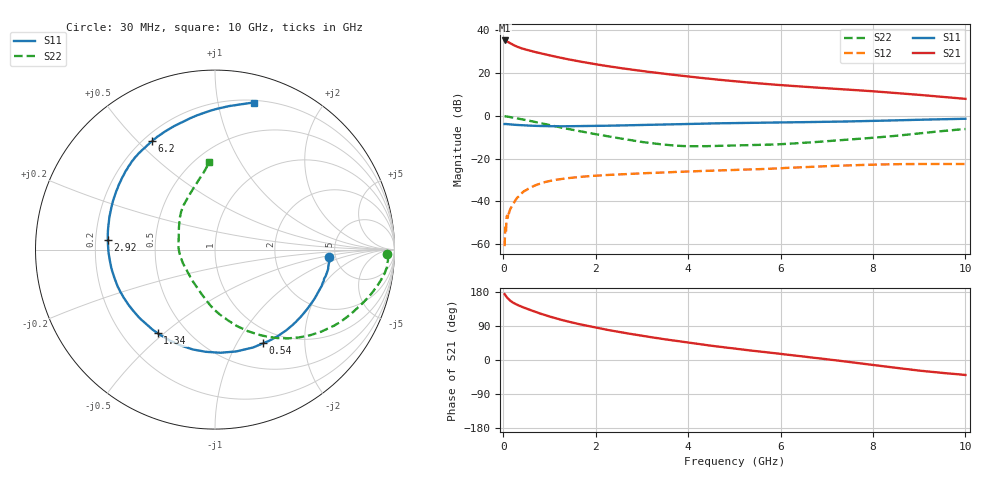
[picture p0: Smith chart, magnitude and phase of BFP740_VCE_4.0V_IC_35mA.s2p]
! Infineon Technologies  Discrete & RF Semiconductors
! BFP740
! VCE =  4.0 V,  IC =  35 mA
! Common Emitter S-Parameters:  Jan 2016
# GHz  S  MA  R  50
!  f  S11  S21  S12  S22
! GHz  MAG  ANG  MAG  ANG  MAG  ANG  MAG  ANG
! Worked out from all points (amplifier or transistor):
!   229 points, 30 MHz to 10 GHz, reference 50 ohm
!   highest |S21| = 35.1 dB at 30 MHz (marker M1)
!   |S21| within 3 dB of that: start of sweep to 311.3 MHz
!   unconditionally stable (mu >= 1): 5.919 GHz to 7.709 GHz
!   at 280 MHz: K = 0.35, MSG = 35.7 dB, |S12| = -38.9 dB
!   at 1.78 GHz: K = 0.53, MSG = 26.6 dB, |S12| = -28.4 dB
!   at 10 GHz: K = 0.98, MSG = 15.2 dB, |S12| = -22.6 dB
!   S11 on the Smith chart (normalised r, x): 30 MHz: 4.42, -0.65; 540 MHz: 0.81, -1.29; 1.34 GHz: 0.35, -0.48; 2.92 GHz: 0.25, +0.04; 6.2 GHz: 0.23, +0.55; 10 GHz: 0.22, +1.27
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0.03  0.6378 -3.9  56.91 173.7  0.0009 93.9  0.9607 -1.6
0.06  0.6382 -8.0  55.55 168.4  0.0019 66.2  0.9626 -4.8
0.11  0.6292 -15.0  52.11 161.1  0.0057 76.3  0.9447 -9.5
0.15  0.6258 -20.0  49.04 156.7  0.0065 79.2  0.9264 -12.6
0.19  0.6195 -24.9  46.36 153.2  0.0079 76.8  0.9078 -15.3
0.26  0.6109 -33.1  42.59 148.1  0.0104 72.5  0.8775 -19.6
0.34  0.6043 -42.0  39.2 143.7  0.0131 68.8  0.8465 -24.1
0.54  0.5868 -62.9  33.69 134.0  0.0196 62.0  0.7705 -34.6
0.7  0.5796 -78.1  30.45 126.8  0.0239 55.5  0.7118 -42.2
0.9  0.5718 -95.1  27.11 118.5  0.0281 50.0  0.6384 -50.8
1.12  0.5663 -110.9  23.97 110.5  0.0316 44.6  0.566 -59.0
1.34  0.5644 -124.4  21.36 103.4  0.0341 40.3  0.5051 -66.1
1.7  0.5689 -142.8  18.03 93.1  0.0376 35.2  0.4235 -76.3
2.24  0.5821 -164.2  14.41 79.8  0.0412 29.5  0.3336 -90.8
2.92  0.5998 175.0  11.33 65.6  0.0447 25.1  0.2512 -109.0
3.4  0.6157 162.8  9.753 56.5  0.047 22.2  0.2157 -124.9
4.3  0.6495 144.1  7.579 40.9  0.0511 17.9  0.1941 -158.0
5.1  0.6768 132.1  6.223 28.7  0.0544 15.0  0.2023 179.3
6.2  0.698 120.2  4.99 13.5  0.0607 11.2  0.2216 155.8
6.8  0.7137 113.3  4.508 4.9  0.0648 7.8  0.2442 144.7
8.4  0.774 92.0  3.446 -19.1  0.0735 -3.8  0.3313 116.4
10  0.847 75.3  2.47 -39.5  0.0744 -14.0  0.488 93.7
